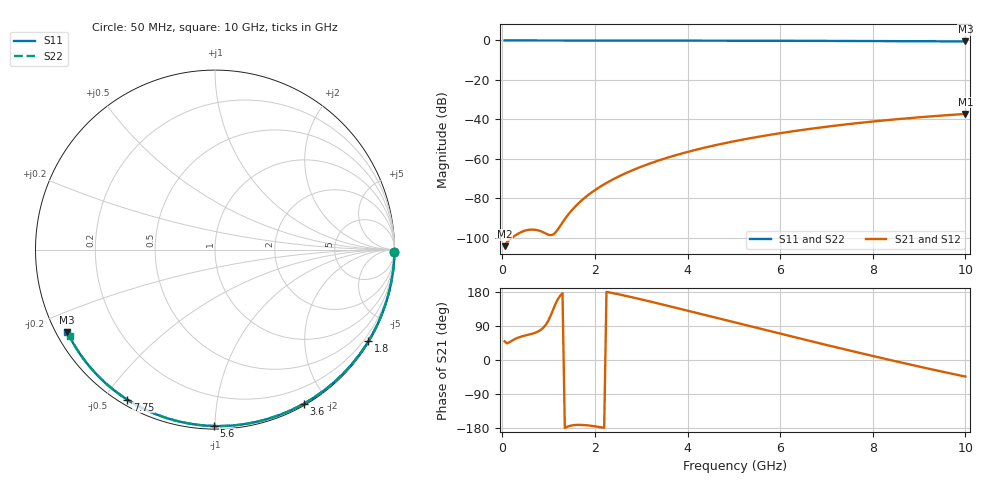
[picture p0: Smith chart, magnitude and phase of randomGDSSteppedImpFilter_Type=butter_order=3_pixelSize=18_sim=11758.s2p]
! freq	dB(S11)	phase(S11)	dB(S12)	phase(S12)
!  dB(S21)	phase(S21)	dB(S22)	phase(S22)
!S-par simulation data
#  GHz  S  DB  R 50
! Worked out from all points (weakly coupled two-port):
!   200 points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, 50 MHz to 10 GHz, reference 50 ohm
!   highest |S21| = -37.27 dB at 10 GHz (marker M1); lowest = -104.4 dB at 50 MHz (marker M2)
!   lowest |S11| = -0.5 dB at 10 GHz (marker M3), VSWR 33.93, Z = 1.57 - j13 ohm
!   |S11| at or under -10 dB: nowhere
!   |S22| runs from -0.5 to 0.0 dB; largest |S21 - S12| = 0
!   S11 on the Smith chart (normalised r, x): 50 MHz: open; 1.8 GHz: 0.03, -3.63; 3.6 GHz: 0.02, -1.73; 5.6 GHz: 0.02, -1.00; 7.75 GHz: 0.02, -0.57; 10 GHz: 0.03, -0.26
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0.05  -0.00 -0.9  -104.37 49.2  -104.37 49.2  -0.00 -0.9
0.45  -0.01 -7.8  -96.82 63.2  -96.82 63.2  -0.01 -7.8
0.9  -0.02 -15.6  -97.50 86.9  -97.50 86.9  -0.02 -15.5
1.3  -0.03 -22.4  -92.36 176.1  -92.36 176.1  -0.03 -22.2
1.75  -0.04 -30.0  -80.41 -171.6  -80.41 -171.6  -0.04 -29.8
1.8  -0.04 -30.8  -79.43 -172.0  -79.43 -172.0  -0.04 -30.6
1.95  -0.04 -33.3  -76.76 -174.1  -76.76 -174.1  -0.04 -33.1
2.1  -0.05 -35.8  -74.41 -176.9  -74.41 -176.9  -0.05 -35.6
2.3  -0.05 -39.1  -71.63 178.7  -71.63 178.7  -0.05 -38.8
2.5  -0.05 -42.4  -69.18 173.7  -69.18 173.7  -0.05 -42.1
2.9  -0.06 -48.9  -64.99 162.8  -64.99 162.8  -0.06 -48.6
3.4  -0.08 -56.9  -60.71 148.2  -60.71 148.2  -0.08 -56.5
3.6  -0.08 -60.1  -59.23 142.2  -59.23 142.2  -0.08 -59.6
4.3  -0.10 -70.9  -54.77 121.0  -54.77 121.0  -0.10 -70.4
5.05  -0.13 -82.2  -50.94 98.1  -50.94 98.1  -0.13 -81.5
5.6  -0.15 -90.3  -48.58 81.4  -48.58 81.4  -0.15 -89.5
6.15  -0.18 -98.1  -46.51 64.9  -46.51 64.9  -0.17 -97.3
6.7  -0.21 -105.9  -44.68 48.5  -44.68 48.5  -0.20 -104.9
7.75  -0.28 -120.3  -41.74 17.8  -41.74 17.8  -0.28 -119.1
8.35  -0.33 -128.5  -40.32 0.7  -40.32 0.7  -0.33 -127.1
9.2  -0.42 -139.9  -38.62 -22.7  -38.62 -22.7  -0.41 -138.4
10  -0.51 -150.8  -37.27 -43.8  -37.27 -43.8  -0.51 -149.1
